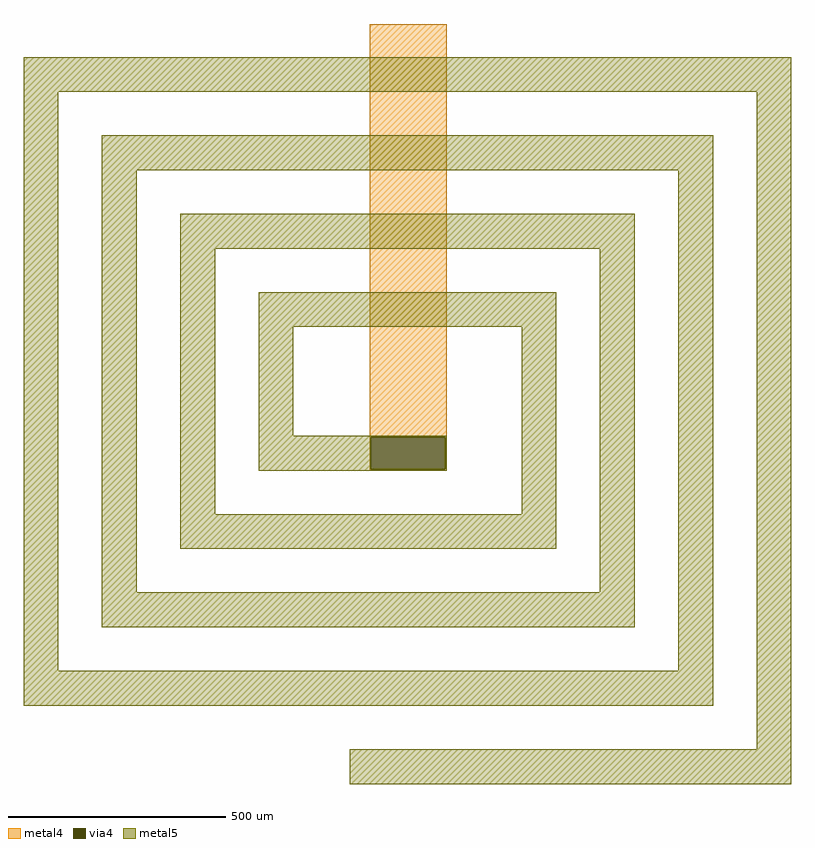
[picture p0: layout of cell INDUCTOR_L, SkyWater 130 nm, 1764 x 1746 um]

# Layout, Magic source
magic
tech sky130A
<< metal4 >>
rect -136800 -5841 -119100 89100
rect -136800 -13159 -136489 -5841
rect -119411 -13159 -119100 -5841
rect -136800 -13500 -119100 -13159
<< via4 >>
rect -136489 -13159 -119411 -5841
<< metal5 >>
rect -216300 73500 -39900 81500
rect -216300 -59500 -208300 73500
rect -198300 55500 -57900 63500
rect -198300 -41500 -190300 55500
rect -180300 37500 -75900 45500
rect -180300 -23500 -172300 37500
rect -162300 19500 -93900 27500
rect -162300 -5500 -154300 19500
rect -162300 -5841 -119100 -5500
rect -162300 -13159 -136489 -5841
rect -119411 -13159 -119100 -5841
rect -162300 -13500 -119100 -13159
rect -101900 -23500 -93900 19500
rect -180300 -31500 -93900 -23500
rect -83900 -41500 -75900 37500
rect -198300 -49500 -75900 -41500
rect -65900 -59500 -57900 55500
rect -216300 -67500 -57900 -59500
rect -47900 -77500 -39900 73500
rect -141400 -85500 -39900 -77500
<< end >>
